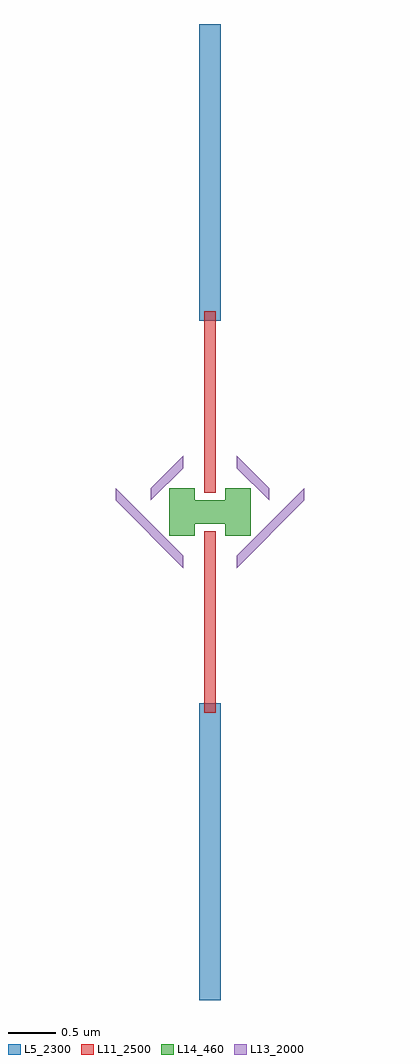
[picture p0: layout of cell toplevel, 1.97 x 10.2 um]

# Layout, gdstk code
import gdstk
lib = gdstk.Library(unit=1e-6, precision=1e-10)
def R(c, l, rs):  # rectangles x0, y0, x1, y1
    for r in rs: c.add(gdstk.rectangle(r[:2], r[2:], *l))
def P(c, l, *ps):  # polygons
    for p in ps: c.add(gdstk.Polygon(p, *l))
L5_2300 = (5, 2300)
L11_2500 = (11, 2500)
L13_2000 = (13, 2000)
L14_460 = (14, 460)

rectangle = lib.new_cell('rectangle')
R(rectangle, L14_460, [(0,0,0.32,0.25)])

compass = lib.new_cell('compass')
compass.add(gdstk.Reference(rectangle, (-0.16,-0.125)))

rectangle003 = lib.new_cell('rectangle003')
R(rectangle003, L14_460, [(0,0,0.265,0.5)])

compass002 = lib.new_cell('compass002')
compass002.add(gdstk.Reference(rectangle003, (-0.1325,-0.25)))

rectangle005 = lib.new_cell('rectangle005')
R(rectangle005, L14_460, [(0,0,0.265,0.5)])

compass004 = lib.new_cell('compass004')
compass004.add(gdstk.Reference(rectangle005, (-0.1325,-0.25)))

dolan_h_undercut = lib.new_cell('dolan_h_undercut')
dolan_h_undercut.add(gdstk.Reference(compass, (0,0)))
dolan_h_undercut.add(gdstk.Reference(compass002, (-0.2925,0)))
dolan_h_undercut.add(gdstk.Reference(compass004, (0.2925,0)))

rectangle007 = lib.new_cell('rectangle007')
R(rectangle007, L11_2500, [(0,0,0.12,1.9)])

compass006 = lib.new_cell('compass006')
compass006.add(gdstk.Reference(rectangle007, (-0.06,-0.95)))

dolan_junction_bridge = lib.new_cell('dolan_junction_bridge')
dolan_junction_bridge.add(gdstk.Reference(compass006, (0,0)))

rectangle010 = lib.new_cell('rectangle010')
R(rectangle010, L11_2500, [(0,0,0.12,1.9)])

compass009 = lib.new_cell('compass009')
compass009.add(gdstk.Reference(rectangle010, (-0.06,-0.95)))

dolan_junction_bridge008 = lib.new_cell('dolan_junction_bridge008')
dolan_junction_bridge008.add(gdstk.Reference(compass009, (0,0)))

rectangle012 = lib.new_cell('rectangle012')
R(rectangle012, L5_2300, [(0,0,0.22,3.1)])

compass011 = lib.new_cell('compass011')
compass011.add(gdstk.Reference(rectangle012, (-0.11,-1.55)))

dolan_arm = lib.new_cell('dolan_arm')
dolan_arm.add(gdstk.Reference(compass011, (0,0)))

rectangle015 = lib.new_cell('rectangle015')
R(rectangle015, L5_2300, [(0,0,0.22,3.1)])

compass014 = lib.new_cell('compass014')
compass014.add(gdstk.Reference(rectangle015, (-0.11,-1.55)))

dolan_arm013 = lib.new_cell('dolan_arm013')
dolan_arm013.add(gdstk.Reference(compass014, (0,0)))

stress_asym_poly_side = lib.new_cell('stress_asym_poly_side')
P(stress_asym_poly_side, L13_2000, [(0,0),(-0.7071,0.7071),(-0.7071,0.5798),(0,-0.1273)],
  [(-0.3394,0.7071),(-0.3394,0.5798),(0,0.9192),(0,1.0465)])

stress_asym_poly_side016 = lib.new_cell('stress_asym_poly_side016')
P(stress_asym_poly_side016, L13_2000, [(0,0),(0.7071,0.7071),(0.7071,0.5798),(0,-0.1273)],
  [(0.3394,0.7071),(0.3394,0.5798),(0,0.9192),(0,1.0465)])

stress_relief_asym_poly_ = lib.new_cell('stress_relief_asym_poly_1')
stress_relief_asym_poly_.add(gdstk.Reference(stress_asym_poly_side, (-0.28,-0.4596)))
stress_relief_asym_poly_.add(gdstk.Reference(stress_asym_poly_side016, (0.28,-0.4596)))

c_stress_relief_asym_poly_ = lib.new_cell('stress_relief_asym_poly_2')

toplevel = lib.new_cell('toplevel')
toplevel.add(gdstk.Reference(dolan_h_undercut, (0,0)))
toplevel.add(gdstk.Reference(dolan_junction_bridge, (0,1.15)))
toplevel.add(gdstk.Reference(dolan_junction_bridge008, (0,-1.15)))
toplevel.add(gdstk.Reference(dolan_arm, (0,3.55)))
toplevel.add(gdstk.Reference(dolan_arm013, (0,-3.55)))
toplevel.add(gdstk.Reference(stress_relief_asym_poly_, (0,0)))
toplevel.add(gdstk.Reference(c_stress_relief_asym_poly_, (0,0)))

lib.write_gds('toplevel.gds')
